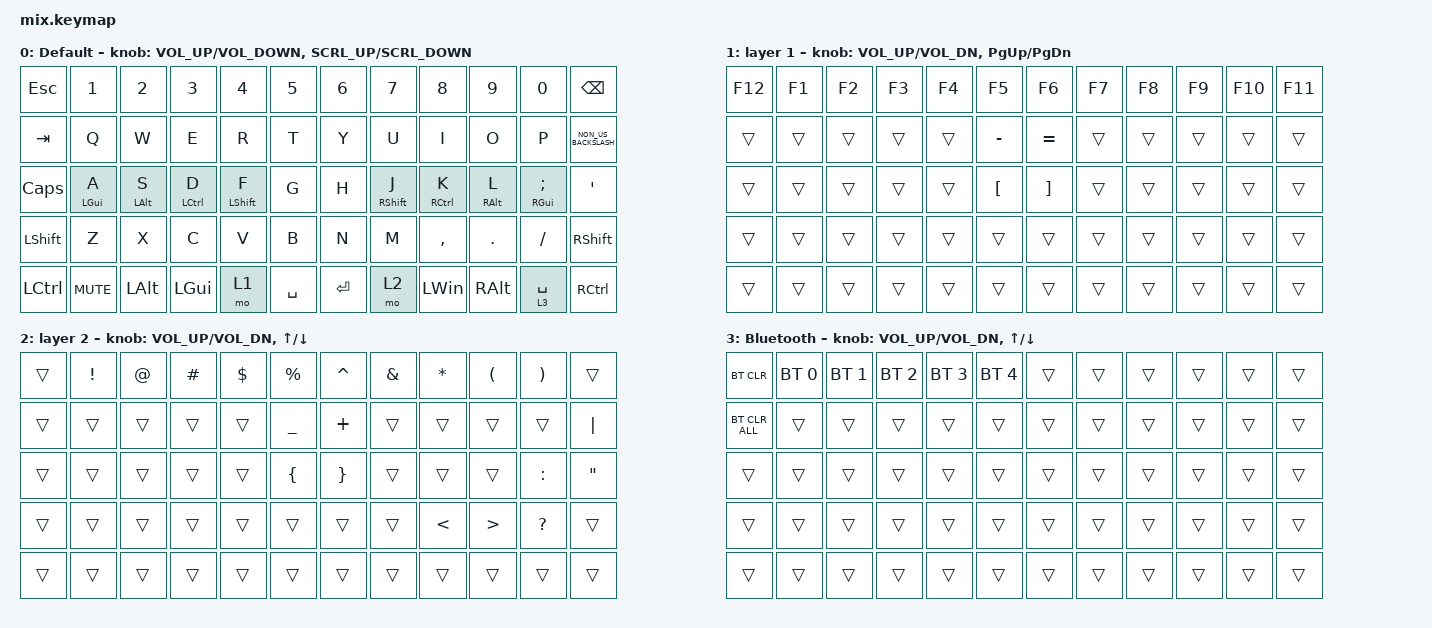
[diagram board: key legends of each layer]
/*
 * Copyright (c) 2020 The ZMK Contributors
 *
 * SPDX-License-Identifier: MIT
 */

#include <behaviors.dtsi>
#include <dt-bindings/zmk/bt.h>
#include <dt-bindings/zmk/keys.h>
#include <dt-bindings/zmk/pointing.h>

#define ZMK_POINTING_DEFAULT_SCRL_VAL 40

/ {
    combos {
        compatible = "zmk,combos";

        boot {
            bindings = <&bootloader>;
            key-positions = <0 11 54 53>;
        };
    };

    behaviors {
        hm: homerow_mod {
            compatible = "zmk,behavior-hold-tap";
            #binding-cells = <2>;
            tapping-term-ms = <250>;
            quick-tap-ms = <150>;
            require-prior-idle-ms = <250>;
            flavor = "tap-preferred";
            bindings = <&kp>, <&kp>;
            display-name = "Home Row Mod";
        };

        encoder_sc: encoder_sc {
            compatible = "zmk,behavior-sensor-rotate-var";
            label = "ENCODER_SC";
            #sensor-binding-cells = <2>;
            bindings = <&msc>, <&msc>;

            tap-ms = <40>;
        };
    };

    keymap {
        compatible = "zmk,keymap";

        LAYER0 {
            display-name = "Default";
            bindings = <
&kp ESCAPE  &kp N1      &kp N2        &kp N3    &kp NUMBER_4  &kp N5     &kp NUMBER_6  &kp N7  &kp N8        &kp N9         &kp N0         &kp BSPC
&kp TAB     &kp Q       &kp W         &kp E     &kp R         &kp T      &kp Y         &kp U   &kp I         &kp O          &kp P          &kp NON_US_BACKSLASH
&kp CAPS    &hm LGUI A  &hm LALT S    &hm LCTRL D  &hm LSHFT F  &kp G     &kp H     &hm RSHFT J  &hm RCTRL K  &hm RALT L  &hm RGUI SEMICOLON  &kp SQT
&kp LSHFT   &kp Z       &kp X         &kp C     &kp V         &kp B      &kp N         &kp M   &kp COMMA     &kp DOT        &kp FSLH       &kp RSHFT
&kp LCTRL   &kp C_MUTE  &kp LEFT_ALT  &kp LGUI  &mo 1         &kp SPACE  &kp ENTER     &mo 2   &kp LEFT_WIN  &kp RIGHT_ALT  &lt 3 SPACE    &kp RCTRL
            >;

            sensor-bindings =
                <&inc_dec_kp C_VOLUME_UP C_VOLUME_DOWN>,
                <&encoder_sc SCRL_UP SCRL_DOWN>;
        };

        LAYER1 {
            display-name = "layer 1";
            bindings = <
&kp F12  &kp F1  &kp F2  &kp F3  &kp F4  &kp F5            &kp F6             &kp F7  &kp F8  &kp F9  &kp F10  &kp F11
&trans   &trans  &trans  &trans  &trans  &kp MINUS         &kp EQUAL          &trans  &trans  &trans  &trans   &trans
&trans   &trans  &trans  &trans  &trans  &kp LEFT_BRACKET  &kp RIGHT_BRACKET  &trans  &trans  &trans  &trans   &trans
&trans   &trans  &trans  &trans  &trans  &trans            &trans             &trans  &trans  &trans  &trans   &trans
&trans   &trans  &trans  &trans  &trans  &trans            &trans             &trans  &trans  &trans  &trans   &trans
            >;

            sensor-bindings = <&inc_dec_kp C_VOL_UP C_VOL_DN &inc_dec_kp PG_UP PG_DN>;
        };

        LAYER2 {
            display-name = "layer 2";
            bindings = <
&trans  &kp EXCLAMATION  &kp AT_SIGN  &kp HASH  &kp DOLLAR  &kp PERCENT     &kp CARET        &kp AMPERSAND  &kp ASTERISK   &kp LEFT_PARENTHESIS  &kp RIGHT_PARENTHESIS  &trans
&trans  &trans           &trans       &trans    &trans      &kp UNDERSCORE  &kp PLUS         &trans         &trans         &trans                &trans                 &kp PIPE
&trans  &trans           &trans       &trans    &trans      &kp LEFT_BRACE  &kp RIGHT_BRACE  &trans         &trans         &trans                &kp COLON              &kp DOUBLE_QUOTES
&trans  &trans           &trans       &trans    &trans      &trans          &trans           &trans         &kp LESS_THAN  &kp GREATER_THAN      &kp QUESTION           &trans
&trans  &trans           &trans       &trans    &trans      &trans          &trans           &trans         &trans         &trans                &trans                 &trans
            >;

            sensor-bindings =
                <&inc_dec_kp C_VOL_UP C_VOL_DN>,
                <&inc_dec_kp UP_ARROW DOWN>;
        };

        LAYER3 {
            display-name = "Bluetooth";
            bindings = <
&bt BT_CLR      &bt BT_SEL 0  &bt BT_SEL 1  &bt BT_SEL 2  &bt BT_SEL 3  &bt BT_SEL 4  &trans  &trans  &trans  &trans  &trans  &trans
&bt BT_CLR_ALL  &trans        &trans        &trans        &trans        &trans        &trans  &trans  &trans  &trans  &trans  &trans
&trans          &trans        &trans        &trans        &trans        &trans        &trans  &trans  &trans  &trans  &trans  &trans
&trans          &trans        &trans        &trans        &trans        &trans        &trans  &trans  &trans  &trans  &trans  &trans
&trans          &trans        &trans        &trans        &trans        &trans        &trans  &trans  &trans  &trans  &trans  &trans
            >;

            sensor-bindings =
                <&inc_dec_kp C_VOL_UP C_VOL_DN>,
                <&inc_dec_kp UP_ARROW DOWN_ARROW>;
        };

        /* ZMK Studio 用の予約枠。Studio 有効ビルドでは disabled レイヤーも
         * 枠として確保されるため、書き込み後に Studio から編集・利用できる。 */
        LAYER4 {
            display-name = "extra 1";
            status = "disabled";
            bindings = <
&trans  &trans  &trans  &trans  &trans  &trans  &trans  &trans  &trans  &trans  &trans  &trans
&trans  &trans  &trans  &trans  &trans  &trans  &trans  &trans  &trans  &trans  &trans  &trans
&trans  &trans  &trans  &trans  &trans  &trans  &trans  &trans  &trans  &trans  &trans  &trans
&trans  &trans  &trans  &trans  &trans  &trans  &trans  &trans  &trans  &trans  &trans  &trans
&trans  &trans  &trans  &trans  &trans  &trans  &trans  &trans  &trans  &trans  &trans  &trans
            >;
        };

        LAYER5 {
            display-name = "extra 2";
            status = "disabled";
            bindings = <
&trans  &trans  &trans  &trans  &trans  &trans  &trans  &trans  &trans  &trans  &trans  &trans
&trans  &trans  &trans  &trans  &trans  &trans  &trans  &trans  &trans  &trans  &trans  &trans
&trans  &trans  &trans  &trans  &trans  &trans  &trans  &trans  &trans  &trans  &trans  &trans
&trans  &trans  &trans  &trans  &trans  &trans  &trans  &trans  &trans  &trans  &trans  &trans
&trans  &trans  &trans  &trans  &trans  &trans  &trans  &trans  &trans  &trans  &trans  &trans
            >;
        };

        LAYER6 {
            display-name = "extra 3";
            status = "disabled";
            bindings = <
&trans  &trans  &trans  &trans  &trans  &trans  &trans  &trans  &trans  &trans  &trans  &trans
&trans  &trans  &trans  &trans  &trans  &trans  &trans  &trans  &trans  &trans  &trans  &trans
&trans  &trans  &trans  &trans  &trans  &trans  &trans  &trans  &trans  &trans  &trans  &trans
&trans  &trans  &trans  &trans  &trans  &trans  &trans  &trans  &trans  &trans  &trans  &trans
&trans  &trans  &trans  &trans  &trans  &trans  &trans  &trans  &trans  &trans  &trans  &trans
            >;
        };

        LAYER7 {
            display-name = "extra 4";
            status = "disabled";
            bindings = <
&trans  &trans  &trans  &trans  &trans  &trans  &trans  &trans  &trans  &trans  &trans  &trans
&trans  &trans  &trans  &trans  &trans  &trans  &trans  &trans  &trans  &trans  &trans  &trans
&trans  &trans  &trans  &trans  &trans  &trans  &trans  &trans  &trans  &trans  &trans  &trans
&trans  &trans  &trans  &trans  &trans  &trans  &trans  &trans  &trans  &trans  &trans  &trans
&trans  &trans  &trans  &trans  &trans  &trans  &trans  &trans  &trans  &trans  &trans  &trans
            >;
        };
    };
};
